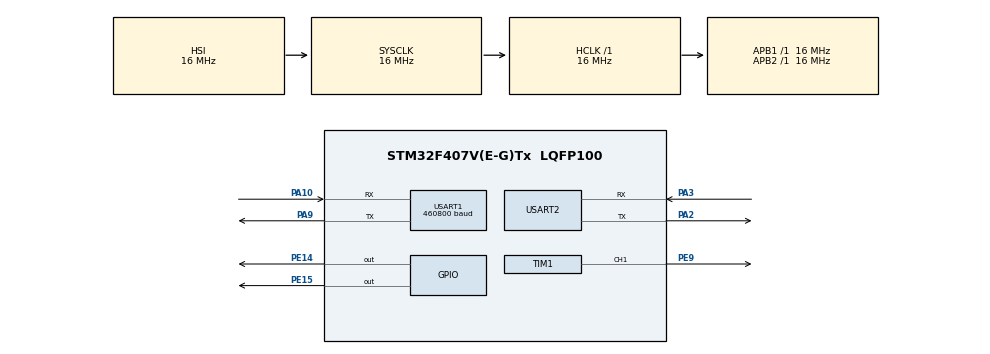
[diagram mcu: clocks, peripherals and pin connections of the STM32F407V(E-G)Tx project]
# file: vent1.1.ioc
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Dma.Request0=USART1_RX
Dma.Request1=USART2_RX
Dma.USART1_RX.0.Direction=DMA_PERIPH_TO_MEMORY
Dma.USART1_RX.0.FIFOMode=DMA_FIFOMODE_DISABLE
Dma.USART1_RX.0.Instance=DMA2_Stream2
Dma.USART1_RX.0.MemDataAlignment=DMA_MDATAALIGN_BYTE
Dma.USART1_RX.0.MemInc=DMA_MINC_ENABLE
Dma.USART1_RX.0.Mode=DMA_CIRCULAR
Dma.USART1_RX.0.PeriphDataAlignment=DMA_PDATAALIGN_BYTE
Dma.USART1_RX.0.PeriphInc=DMA_PINC_DISABLE
Dma.USART1_RX.0.Priority=DMA_PRIORITY_LOW
Dma.USART2_RX.1.Direction=DMA_PERIPH_TO_MEMORY
Dma.USART2_RX.1.FIFOMode=DMA_FIFOMODE_DISABLE
Dma.USART2_RX.1.Instance=DMA1_Stream5
Dma.USART2_RX.1.MemDataAlignment=DMA_MDATAALIGN_BYTE
Dma.USART2_RX.1.MemInc=DMA_MINC_ENABLE
Dma.USART2_RX.1.Mode=DMA_CIRCULAR
Dma.USART2_RX.1.PeriphDataAlignment=DMA_PDATAALIGN_BYTE
Dma.USART2_RX.1.PeriphInc=DMA_PINC_DISABLE
Dma.USART2_RX.1.Priority=DMA_PRIORITY_LOW
Mcu.Family=STM32F4
Mcu.Name=STM32F407V(E-G)Tx
Mcu.Package=LQFP100
NVIC.DMA1_Stream5_IRQn=true\:0\:0\:false\:false\:true\:false\:true\:true
NVIC.DMA2_Stream2_IRQn=true\:0\:0\:false\:false\:true\:false\:true\:true
NVIC.PriorityGroup=NVIC_PRIORITYGROUP_4
NVIC.USART1_IRQn=true\:0\:0\:false\:false\:true\:true\:true\:true
NVIC.USART2_IRQn=true\:0\:0\:false\:false\:true\:true\:true\:true
PA10.Mode=Asynchronous
PA10.Signal=USART1_RX
PA2.Mode=Asynchronous
PA2.Signal=USART2_TX
PA3.Mode=Asynchronous
PA3.Signal=USART2_RX
PA9.Mode=Asynchronous
PA9.Signal=USART1_TX
PE14.Signal=GPIO_Output
PE15.Signal=GPIO_Output
PE9.Signal=S_TIM1_CH1
PH0-OSC_IN.Mode=HSE-External-Oscillator
PH0-OSC_IN.Signal=RCC_OSC_IN
PH1-OSC_OUT.Mode=HSE-External-Oscillator
PH1-OSC_OUT.Signal=RCC_OSC_OUT
ProjectManager.HeapSize=0x200
ProjectManager.StackSize=0x400
ProjectManager.TargetToolchain=STM32CubeIDE
RCC.AHBFreq_Value=16000000
RCC.APB1Freq_Value=16000000
RCC.APB2Freq_Value=16000000
RCC.CortexFreq_Value=16000000
RCC.HSE_VALUE=25000000
RCC.HSI_VALUE=16000000
RCC.LSE_VALUE=32768
RCC.SYSCLKFreq_VALUE=16000000
RCC.VCOOutputFreq_Value=192000000
SH.S_TIM1_CH1.0=TIM1_CH1,PWM Generation1 CH1
TIM1.Channel-PWM\ Generation1\ CH1=TIM_CHANNEL_1
TIM1.OCFastMode_PWM-PWM\ Generation1\ CH1=TIM_OCFAST_ENABLE
TIM1.Period=209
TIM1.Prescaler=19
USART1.BaudRate=460800
USART1.VirtualMode=VM_ASYNC
USART2.VirtualMode=VM_ASYNC
VP_TIM1_VS_ClockSourceINT.Mode=Internal
board=custom

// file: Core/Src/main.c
/* USER CODE BEGIN Header */
/**
 ******************************************************************************
 * @file           : main.c
 * @brief          : Main program body
 ******************************************************************************
 * @attention
 *
 * Copyright (c) 2025 STMicroelectronics.
 * All rights reserved.
 *
 * This software is licensed under terms that can be found in the LICENSE file
 * in the root directory of this software component.
 * If no LICENSE file comes with this software, it is provided AS-IS.
 *
 ******************************************************************************
 */
/* USER CODE END Header */
#include "main.h"

/* USER CODE BEGIN Includes */
#include "stdbool.h"
#include "stdint.h"
#include "stdio.h"
#include "stdlib.h"
#include "math.h"

/* USER CODE END Includes */

TIM_HandleTypeDef htim1;

UART_HandleTypeDef huart1;
UART_HandleTypeDef huart2;
DMA_HandleTypeDef hdma_usart1_rx;
DMA_HandleTypeDef hdma_usart2_rx;

/* USER CODE BEGIN PV */
uint8_t DisplayInput[9] = {0, 0, 0, 0, 0, 0, 0, 0, 0};
uint8_t VtInput[13] = {0, 0, 0, 0, 0, 0, 0, 0, 0, 0, 0, 0, 0};
uint8_t Keypad[5];
//flag
bool AdultFlag = 0;
bool ChildFlag = 0;
//display input variables
uint16_t VtValue;
uint16_t VtTempValue;

//VCV_mode parameter
float InspirationTime;
float ExpirationTime;
uint8_t RR = 12;
uint8_t TotalTime;
uint8_t InspirationRatio = 1;
uint8_t ExpirationRatio = 2;
//sensor parameters
uint8_t SensorData[24];
uint8_t FinalSensorData[12];
/* USER CODE END PV */

void SystemClock_Config(void);
static void MX_GPIO_Init(void);
static void MX_DMA_Init(void);
static void MX_USART1_UART_Init(void);
static void MX_TIM1_Init(void);
static void MX_USART2_UART_Init(void);

/* USER CODE BEGIN 0 */
void AtmegaData(void){
	uint8_t sensordatacounter = 0;
	for(int i = 0; i < 24; i++){
		if(SensorData[i] == 0x11){
			for(int j = 0; j < (i + 12); j++){
				FinalSensorData[sensordatacounter] = SensorData[j];
				sensordatacounter++;
			}
		}
	}
}
void SendDisplay(uint8_t data){
	//	HAL_UART_Transmit(&huart1, data, 8, 1);

}
void SetCompliance(void){
	if(DisplayInput[5] == 0x0A){
		AdultFlag = 1;
	}
	else if(DisplayInput[5] == 0x0B){
		ChildFlag = 1;

	}
}
void VcvMode(void){
	//	HAL_GetTick()
	__HAL_TIM_SET_COMPARE(&htim1, TIM_CHANNEL_1, 104);
	HAL_GPIO_WritePin(GPIOE, GPIO_PIN_15, GPIO_PIN_SET);
	HAL_GPIO_WritePin(GPIOE, GPIO_PIN_14, GPIO_PIN_SET);
	HAL_Delay(InspirationTime);
	HAL_GPIO_WritePin(GPIOE, GPIO_PIN_15, GPIO_PIN_RESET);
	HAL_GPIO_WritePin(GPIOE, GPIO_PIN_14, GPIO_PIN_RESET);
	__HAL_TIM_SET_COMPARE(&htim1, TIM_CHANNEL_1, 75);
	HAL_Delay(ExpirationTime);

}
void BreathCalculation(void){
	TotalTime = 60 / RR;
	float sum = InspirationRatio + ExpirationRatio;
	float div = InspirationRatio / sum;
	float insp = div * TotalTime;
//	InspirationTime = (InspirationRatio / (InspirationRatio + ExpirationRatio)) * (TotalTime);
	InspirationTime = insp * 1000;
	ExpirationTime = (TotalTime - insp) * 1000;
}
void VtKeypad(void){
	if(VtInput[5] == 0x95){
		if((VtInput[8] == 0xFF) && (VtInput[9] == 0xFF)){
			Keypad[0] = 0x00;
			Keypad[1] = 0x00;
			Keypad[2] = 0x00;
			Keypad[3] = VtInput[7] & 0x00;
			Keypad[4] = 0x01;
			for(int j = 0; j < 12; j++){
				VtInput[j] = 0x00;

			}
		}
		else if((VtInput[9] == 0xFF) && (VtInput[10] == 0xFF)){
			Keypad[0] = 0x00;
			Keypad[1] = 0x00;
			Keypad[2] = VtInput[7] & 0x0F;
			Keypad[3] = VtInput[8] & 0x0F;
			Keypad[4] = 0x02;
			for(int j = 0; j < 12; j++){
				VtInput[j] = 0x00;
			}
		}
		else if((VtInput[10] == 0xFF) && (VtInput[11] == 0xFF)){
			Keypad[0] = 0x00;
			Keypad[1] = VtInput[7] & 0x0F;
			Keypad[2] = VtInput[8] & 0x0F;
			Keypad[3] = VtInput[9] & 0x0F;
			Keypad[4] = 0x03;
			for(int j = 0; j < 12; j++){
				VtInput[j] = 0x00;
			}
		}
		else if((VtInput[11] == 0xFF) && (VtInput[12] == 0xFF)){
			Keypad[0] = VtInput[7] & 0x0F;
			Keypad[1] = VtInput[8] & 0x0F;
			Keypad[2] = VtInput[9] & 0x0F;
			Keypad[3] = VtInput[10] & 0x0F;
			Keypad[4] = 0x04;
			for(int j = 0; j < 12; j++){
				VtInput[j] = 0x00;
			}
		}
		HAL_UART_AbortReceive_IT(&huart1);
		VtValue = ((int)(Keypad[0] * 1000) + ((int)Keypad[1] * 100) + ((int)Keypad[2] * 10) + ((int)Keypad[3]));
		VtTempValue = VtValue;
		if((VtValue >= 20) && (VtValue <= 1500)){
			//vt value ko bhej do using intiger_val_vt_send(0x01, vt_value)
		}
		else{
			VtValue = VtValue;
		}
	}
}

//void SelectMode(void){
//	switch (DisplayInput[5]){
//	case 0x3C:
//		VcvFlag = 1;
//		VcvMode();
//		break;
//	case 0x3D:
//		PcvFlag = 1;
//		break;
//	case 0x3E:
//		SimvFlag = 1;
//
//		break;
//	case 0x3F:
//		PsvFlag = 1;
//		break;
//	case 0x40:
//		BagFlag = 1;
//		break;
//	case 0x41:
//		StandbyFlag = 1;
//		break;
//	case 0x42:
//		GotoHomeFlag = 1;
//		break;
//	default:
//
//
//
//
//	}
//}
/* USER CODE END 0 */

int main(void)
{

  /* MCU Configuration--------------------------------------------------------*/

  /* Reset of all peripherals, Initializes the Flash interface and the Systick. */
  HAL_Init();

  /* Configure the system clock */
  SystemClock_Config();

  /* Initialize all configured peripherals */
  MX_GPIO_Init();
  MX_DMA_Init();
  MX_USART1_UART_Init();
  MX_TIM1_Init();
  MX_USART2_UART_Init();
  /* USER CODE BEGIN 2 */
	HAL_UART_Receive_DMA(&huart1, DisplayInput, sizeof(DisplayInput));
	HAL_TIM_PWM_Start(&htim1, TIM_CHANNEL_1);
	HAL_UART_Receive_DMA(&huart2, SensorData, sizeof(SensorData));

  /* USER CODE END 2 */

  /* Infinite loop */
	while (1)
	{

    /* USER CODE BEGIN 3 */
		BreathCalculation();
		VcvMode();

	}
  /* USER CODE END 3 */
}

void SystemClock_Config(void)
{
  RCC_OscInitTypeDef RCC_OscInitStruct = {0};
  RCC_ClkInitTypeDef RCC_ClkInitStruct = {0};

  /** Configure the main internal regulator output voltage
  */
  __HAL_RCC_PWR_CLK_ENABLE();
  __HAL_PWR_VOLTAGESCALING_CONFIG(PWR_REGULATOR_VOLTAGE_SCALE1);

  /** Initializes the RCC Oscillators according to the specified parameters
  * in the RCC_OscInitTypeDef structure.
  */
  RCC_OscInitStruct.OscillatorType = RCC_OSCILLATORTYPE_HSI;
  RCC_OscInitStruct.HSIState = RCC_HSI_ON;
  RCC_OscInitStruct.HSICalibrationValue = RCC_HSICALIBRATION_DEFAULT;
  RCC_OscInitStruct.PLL.PLLState = RCC_PLL_NONE;
  if (HAL_RCC_OscConfig(&RCC_OscInitStruct) != HAL_OK)
  {
    Error_Handler();
  }

  /** Initializes the CPU, AHB and APB buses clocks
  */
  RCC_ClkInitStruct.ClockType = RCC_CLOCKTYPE_HCLK|RCC_CLOCKTYPE_SYSCLK
                              |RCC_CLOCKTYPE_PCLK1|RCC_CLOCKTYPE_PCLK2;
  RCC_ClkInitStruct.SYSCLKSource = RCC_SYSCLKSOURCE_HSI;
  RCC_ClkInitStruct.AHBCLKDivider = RCC_SYSCLK_DIV1;
  RCC_ClkInitStruct.APB1CLKDivider = RCC_HCLK_DIV1;
  RCC_ClkInitStruct.APB2CLKDivider = RCC_HCLK_DIV1;

  if (HAL_RCC_ClockConfig(&RCC_ClkInitStruct, FLASH_LATENCY_0) != HAL_OK)
  {
    Error_Handler();
  }
}

static void MX_TIM1_Init(void)
{

  TIM_ClockConfigTypeDef sClockSourceConfig = {0};
  TIM_MasterConfigTypeDef sMasterConfig = {0};
  TIM_OC_InitTypeDef sConfigOC = {0};
  TIM_BreakDeadTimeConfigTypeDef sBreakDeadTimeConfig = {0};

  htim1.Instance = TIM1;
  htim1.Init.Prescaler = 19;
  htim1.Init.CounterMode = TIM_COUNTERMODE_UP;
  htim1.Init.Period = 209;
  htim1.Init.ClockDivision = TIM_CLOCKDIVISION_DIV1;
  htim1.Init.RepetitionCounter = 0;
  htim1.Init.AutoReloadPreload = TIM_AUTORELOAD_PRELOAD_DISABLE;
  if (HAL_TIM_Base_Init(&htim1) != HAL_OK)
  {
    Error_Handler();
  }
  sClockSourceConfig.ClockSource = TIM_CLOCKSOURCE_INTERNAL;
  if (HAL_TIM_ConfigClockSource(&htim1, &sClockSourceConfig) != HAL_OK)
  {
    Error_Handler();
  }
  if (HAL_TIM_PWM_Init(&htim1) != HAL_OK)
  {
    Error_Handler();
  }
  sMasterConfig.MasterOutputTrigger = TIM_TRGO_RESET;
  sMasterConfig.MasterSlaveMode = TIM_MASTERSLAVEMODE_DISABLE;
  if (HAL_TIMEx_MasterConfigSynchronization(&htim1, &sMasterConfig) != HAL_OK)
  {
    Error_Handler();
  }
  sConfigOC.OCMode = TIM_OCMODE_PWM1;
  sConfigOC.Pulse = 0;
  sConfigOC.OCPolarity = TIM_OCPOLARITY_HIGH;
  sConfigOC.OCNPolarity = TIM_OCNPOLARITY_HIGH;
  sConfigOC.OCFastMode = TIM_OCFAST_ENABLE;
  sConfigOC.OCIdleState = TIM_OCIDLESTATE_RESET;
  sConfigOC.OCNIdleState = TIM_OCNIDLESTATE_RESET;
  if (HAL_TIM_PWM_ConfigChannel(&htim1, &sConfigOC, TIM_CHANNEL_1) != HAL_OK)
  {
    Error_Handler();
  }
  sBreakDeadTimeConfig.OffStateRunMode = TIM_OSSR_DISABLE;
  sBreakDeadTimeConfig.OffStateIDLEMode = TIM_OSSI_DISABLE;
  sBreakDeadTimeConfig.LockLevel = TIM_LOCKLEVEL_OFF;
  sBreakDeadTimeConfig.DeadTime = 0;
  sBreakDeadTimeConfig.BreakState = TIM_BREAK_DISABLE;
  sBreakDeadTimeConfig.BreakPolarity = TIM_BREAKPOLARITY_HIGH;
  sBreakDeadTimeConfig.AutomaticOutput = TIM_AUTOMATICOUTPUT_DISABLE;
  if (HAL_TIMEx_ConfigBreakDeadTime(&htim1, &sBreakDeadTimeConfig) != HAL_OK)
  {
    Error_Handler();
  }
  HAL_TIM_MspPostInit(&htim1);

}

static void MX_USART1_UART_Init(void)
{

  huart1.Instance = USART1;
  huart1.Init.BaudRate = 460800;
  huart1.Init.WordLength = UART_WORDLENGTH_8B;
  huart1.Init.StopBits = UART_STOPBITS_1;
  huart1.Init.Parity = UART_PARITY_NONE;
  huart1.Init.Mode = UART_MODE_TX_RX;
  huart1.Init.HwFlowCtl = UART_HWCONTROL_NONE;
  huart1.Init.OverSampling = UART_OVERSAMPLING_16;
  if (HAL_UART_Init(&huart1) != HAL_OK)
  {
    Error_Handler();
  }

}

static void MX_USART2_UART_Init(void)
{

  huart2.Instance = USART2;
  huart2.Init.BaudRate = 115200;
  huart2.Init.WordLength = UART_WORDLENGTH_8B;
  huart2.Init.StopBits = UART_STOPBITS_1;
  huart2.Init.Parity = UART_PARITY_NONE;
  huart2.Init.Mode = UART_MODE_TX_RX;
  huart2.Init.HwFlowCtl = UART_HWCONTROL_NONE;
  huart2.Init.OverSampling = UART_OVERSAMPLING_16;
  if (HAL_UART_Init(&huart2) != HAL_OK)
  {
    Error_Handler();
  }

}

static void MX_DMA_Init(void)
{

  /* DMA controller clock enable */
  __HAL_RCC_DMA2_CLK_ENABLE();
  __HAL_RCC_DMA1_CLK_ENABLE();

  /* DMA interrupt init */
  /* DMA1_Stream5_IRQn interrupt configuration */
  HAL_NVIC_SetPriority(DMA1_Stream5_IRQn, 0, 0);
  HAL_NVIC_EnableIRQ(DMA1_Stream5_IRQn);
  /* DMA2_Stream2_IRQn interrupt configuration */
  HAL_NVIC_SetPriority(DMA2_Stream2_IRQn, 0, 0);
  HAL_NVIC_EnableIRQ(DMA2_Stream2_IRQn);

}

static void MX_GPIO_Init(void)
{
  GPIO_InitTypeDef GPIO_InitStruct = {0};

  /* GPIO Ports Clock Enable */
  __HAL_RCC_GPIOH_CLK_ENABLE();
  __HAL_RCC_GPIOA_CLK_ENABLE();
  __HAL_RCC_GPIOE_CLK_ENABLE();

  /*Configure GPIO pin Output Level */
  HAL_GPIO_WritePin(GPIOE, GPIO_PIN_14|GPIO_PIN_15, GPIO_PIN_RESET);

  /*Configure GPIO pins : PE14 PE15 */
  GPIO_InitStruct.Pin = GPIO_PIN_14|GPIO_PIN_15;
  GPIO_InitStruct.Mode = GPIO_MODE_OUTPUT_PP;
  GPIO_InitStruct.Pull = GPIO_NOPULL;
  GPIO_InitStruct.Speed = GPIO_SPEED_FREQ_LOW;
  HAL_GPIO_Init(GPIOE, &GPIO_InitStruct);

}

void Error_Handler(void)
{
	__disable_irq();
	while (1)
	{
	}
}
